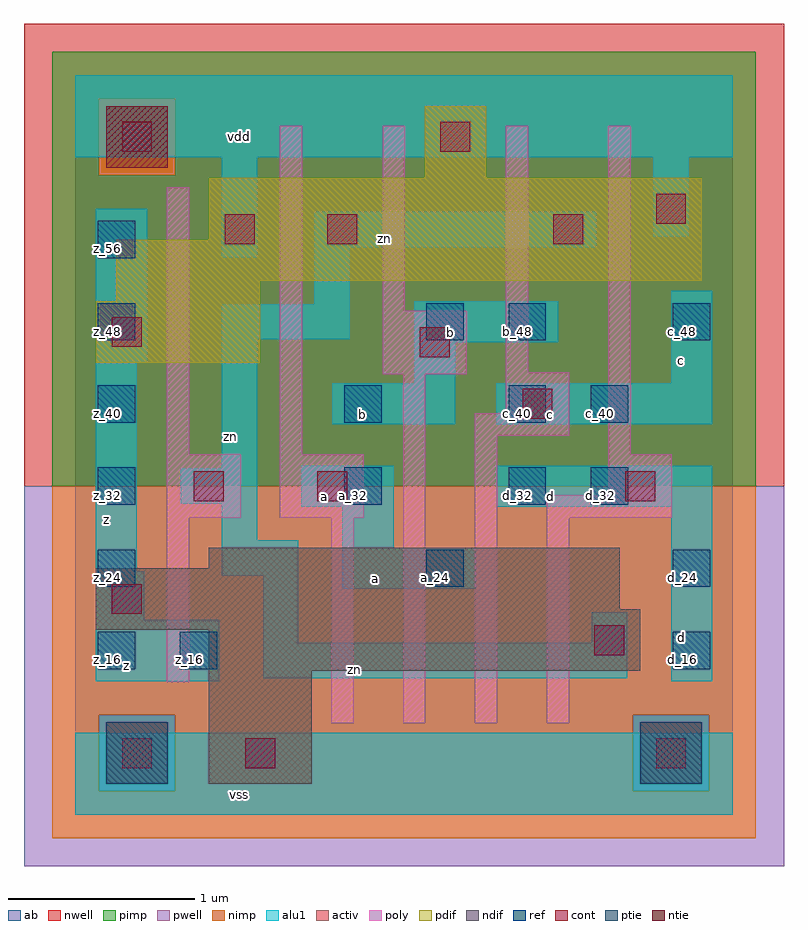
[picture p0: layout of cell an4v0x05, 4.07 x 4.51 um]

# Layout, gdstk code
import gdstk
lib = gdstk.Library(unit=1e-6, precision=2.5e-09)
def R(c, l, rs):  # rectangles x0, y0, x1, y1
    for r in rs: c.add(gdstk.rectangle(r[:2], r[2:], *l))
def A(c, l, x, y, w, h, nx, ny, dx, dy):  # array of equal rectangles
    R(c, l, [(x+i*dx, y+j*dy, x+i*dx+w, y+j*dy+h) for i in range(nx) for j in range(ny)])
ndif = (3, 0)
pdif = (4, 0)
ntie = (5, 0)
ptie = (6, 0)
ref = (24, 0)
cont = (25, 0)
pwell = (41, 0)
nwell = (42, 0)
activ = (43, 0)
pimp = (44, 0)
nimp = (45, 0)
poly = (46, 0)
alu1 = (49, 0)
ab = (63, 0)

an4v0x05 = lib.new_cell('an4v0x05')
R(an4v0x05, ndif, [(0.715,0.165,1.265,0.77), (0.715,0.77,3.025,0.99), (0.11,0.99,3.025,1.1), (0.11,1.1,2.915,1.32), (0.715,1.32,2.915,1.43)])
R(an4v0x05, pdif, [(0.11,2.42,0.99,2.75), (0.22,2.75,0.99,2.86), (0.22,2.86,3.355,3.08), (0.715,3.08,3.355,3.41), (1.87,3.41,2.2,3.795)])
R(an4v0x05, ntie, [(0.165,3.465,0.495,3.795)])
R(an4v0x05, ptie, [(0.165,0.165,0.495,0.495), (3.025,0.165,3.355,0.495)])
A(an4v0x05, ref, 0.12, 0.78, 0.2, 0.2, 1, 6, 0, 0.44)
A(an4v0x05, ref, 2.32, 1.66, 0.2, 0.2, 1, 3, 0, 0.44)
R(an4v0x05, ref, [(0.56,0.78,0.76,0.98), (3.2,0.78,3.4,0.98), (1.88,1.22,2.08,1.42), (3.2,1.22,3.4,1.42), (1.44,1.66,1.64,1.86), (2.76,1.66,2.96,1.86), (1.44,2.1,1.64,2.3), (2.76,2.1,2.96,2.3), (1.88,2.54,2.08,2.74), (3.2,2.54,3.4,2.74)])
R(an4v0x05, cont, [(0.25,0.25,0.41,0.41), (0.91,0.25,1.07,0.41), (3.11,0.25,3.27,0.41), (2.78,0.855,2.94,1.015), (0.195,1.075,0.355,1.235), (0.635,1.68,0.795,1.84), (1.295,1.68,1.455,1.84), (2.945,1.68,3.105,1.84), (2.395,2.12,2.555,2.28), (1.845,2.45,2.005,2.61), (0.195,2.505,0.355,2.665), (0.8,3.055,0.96,3.215), (1.35,3.055,1.51,3.215), (2.56,3.055,2.72,3.215), (3.11,3.165,3.27,3.325), (0.25,3.55,0.41,3.71), (1.955,3.55,2.115,3.71)])
R(an4v0x05, pwell, [(-0.275,-0.275,3.795,1.76)])
R(an4v0x05, nwell, [(-0.275,1.76,3.795,4.235)])
R(an4v0x05, activ, [(0.165,0.165,0.495,0.495), (0.715,0.165,1.265,0.77), (3.025,0.165,3.355,0.495), (0.715,0.77,3.025,0.99), (0.11,0.99,3.025,1.1), (0.11,1.1,2.915,1.32), (0.715,1.32,2.915,1.43), (0.11,2.42,0.99,2.75), (0.22,2.75,0.99,2.86), (0.22,2.86,3.355,3.08), (0.715,3.08,3.355,3.41), (1.87,3.41,2.2,3.795), (0.165,3.465,0.495,3.795)])
R(an4v0x05, pimp, [(0.125,0.125,0.535,0.535), (2.985,0.125,3.395,0.535), (-0.125,1.76,3.645,3.425), (-0.125,3.425,0.125,3.835), (0.535,3.425,3.645,3.835), (-0.125,3.835,3.645,4.085)])
R(an4v0x05, nimp, [(-0.125,-0.125,3.645,0.125), (-0.125,0.125,0.125,0.535), (0.535,0.125,2.985,0.535), (3.395,0.125,3.645,0.535), (-0.125,0.535,3.645,1.76), (0.125,3.425,0.535,3.835)])
R(an4v0x05, poly, [(1.37,0.49,1.49,1.59), (1.755,0.49,1.875,2.36), (2.14,0.49,2.26,2.03), (2.525,0.49,2.645,1.59), (0.49,0.71,0.61,1.59), (0.49,1.59,0.885,1.93), (1.095,1.59,1.545,1.93), (2.525,1.59,3.195,1.71), (2.855,1.71,3.195,1.93), (0.49,1.93,0.61,3.36), (1.095,1.93,1.215,3.69), (2.855,1.93,2.975,3.69), (2.14,2.03,2.645,2.15), (2.305,2.15,2.645,2.37), (1.645,2.36,2.095,2.7), (2.305,2.37,2.425,3.69), (1.645,2.7,1.765,3.69)])
R(an4v0x05, alu1, [(0,0,3.52,0.44), (0.11,0.715,0.77,1.045), (3.19,0.715,3.41,1.65), (1.005,0.73,2.955,0.92), (1.005,0.92,1.195,1.28), (2.765,0.92,2.955,1.085), (0.11,1.045,0.37,1.305), (1.43,1.21,2.145,1.43), (0.785,1.28,1.195,1.47), (0.11,1.305,0.33,2.42), (1.43,1.43,1.705,1.65), (0.785,1.47,0.975,1.665), (1.21,1.65,1.705,1.87), (2.255,1.65,3.41,1.87), (0.565,1.665,0.975,1.855), (0.785,1.855,0.975,2.545), (1.375,2.09,2.035,2.31), (2.255,2.09,3.41,2.31), (1.815,2.31,2.035,2.53), (3.19,2.31,3.41,2.805), (0.11,2.42,0.385,3.245), (1.815,2.53,2.585,2.75), (0.785,2.545,1.47,2.735), (1.28,2.735,1.47,3.04), (0.785,2.985,0.975,3.52), (1.28,3.04,2.79,3.23), (3.095,3.095,3.285,3.52), (0,3.52,3.52,3.96)])
R(an4v0x05, ab, [(0,0,3.52,3.96)])
an4v0x05.add(gdstk.Label('vss', (0.88,0.11), layer=49, texttype=0))
an4v0x05.add(gdstk.Label('d', (3.245,0.9475), layer=49, texttype=0))
an4v0x05.add(gdstk.Label('zn', (1.4925,0.7775), layer=49, texttype=0))
an4v0x05.add(gdstk.Label('a', (1.6075,1.265), layer=49, texttype=0))
an4v0x05.add(gdstk.Label('z', (0.275,0.7975), layer=49, texttype=0))
an4v0x05.add(gdstk.Label('d', (2.5425,1.705), layer=49, texttype=0))
an4v0x05.add(gdstk.Label('a', (1.3325,1.705), layer=49, texttype=0))
an4v0x05.add(gdstk.Label('c', (2.5425,2.145), layer=49, texttype=0))
an4v0x05.add(gdstk.Label('b', (1.54,2.145), layer=49, texttype=0))
an4v0x05.add(gdstk.Label('c', (3.245,2.4325), layer=49, texttype=0))
an4v0x05.add(gdstk.Label('b', (2.0075,2.585), layer=49, texttype=0))
an4v0x05.add(gdstk.Label('zn', (0.8325,2.0275), layer=49, texttype=0))
an4v0x05.add(gdstk.Label('z', (0.165,1.5825), layer=49, texttype=0))
an4v0x05.add(gdstk.Label('zn', (1.6575,3.0875), layer=49, texttype=0))
an4v0x05.add(gdstk.Label('vdd', (0.88,3.63), layer=49, texttype=0))
an4v0x05.add(gdstk.Label('z_16', (0.61,0.83), layer=24, texttype=0))
an4v0x05.add(gdstk.Label('a_32', (1.49,1.71), layer=24, texttype=0))
an4v0x05.add(gdstk.Label('b_40', (1.49,2.15), layer=24, texttype=0))
an4v0x05.add(gdstk.Label('a_24', (1.93,1.27), layer=24, texttype=0))
an4v0x05.add(gdstk.Label('b_48', (1.93,2.59), layer=24, texttype=0))
an4v0x05.add(gdstk.Label('z_16', (0.17,0.83), layer=24, texttype=0))
an4v0x05.add(gdstk.Label('z_24', (0.17,1.27), layer=24, texttype=0))
an4v0x05.add(gdstk.Label('z_32', (0.17,1.71), layer=24, texttype=0))
an4v0x05.add(gdstk.Label('z_40', (0.17,2.15), layer=24, texttype=0))
an4v0x05.add(gdstk.Label('z_48', (0.17,2.59), layer=24, texttype=0))
an4v0x05.add(gdstk.Label('z_56', (0.17,3.03), layer=24, texttype=0))
an4v0x05.add(gdstk.Label('d_32', (2.37,1.71), layer=24, texttype=0))
an4v0x05.add(gdstk.Label('c_40', (2.37,2.15), layer=24, texttype=0))
an4v0x05.add(gdstk.Label('b_48', (2.37,2.59), layer=24, texttype=0))
an4v0x05.add(gdstk.Label('d_32', (2.81,1.71), layer=24, texttype=0))
an4v0x05.add(gdstk.Label('c_40', (2.81,2.15), layer=24, texttype=0))
an4v0x05.add(gdstk.Label('d_16', (3.25,0.83), layer=24, texttype=0))
an4v0x05.add(gdstk.Label('d_24', (3.25,1.27), layer=24, texttype=0))
an4v0x05.add(gdstk.Label('c_48', (3.25,2.59), layer=24, texttype=0))

lib.write_gds('an4v0x05.gds')
